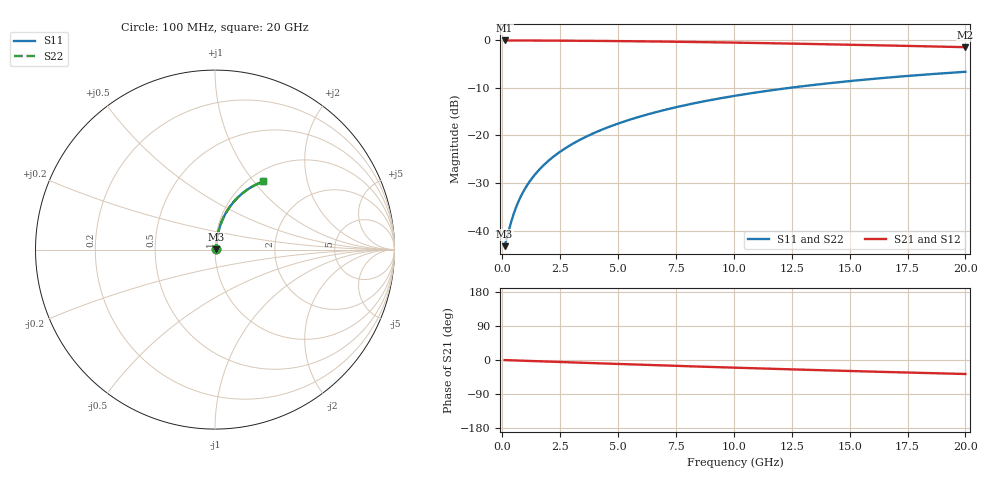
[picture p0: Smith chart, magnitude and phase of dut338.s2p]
! Touchstone file exported from HFSS 2024.1.0
!  File:  C:/UserFiles/LocalFiles/RDL_TSV_Batchsim/temp_RDL_top_338_1779607642.aedt
!  Generated:  03:29:50 PM May 24, 2026
!  Design:  RDL_top
!  Project:  temp_RDL_top_338_1779607642
!  Setup:  Setup1
!  Solution:  Sweep
! Variables:
!  dtsv = 10.80580581um
!  hbump = 3um
!  htsv = 72.22um
!  ldown = 100um
!  lrdl = 407.47um
!  p = 40
!  p1 = 53.81um
!  rhole = 1um
!  t = 450um
!  tdown = 3.915915916um
!  trdl = 2.27um
!  wdown = 15.38538539um
!  wrdl = 10.23um
# GHz S MA R 50.000000
! Terminal data exported
! Port[1] = Box2_T1
! Port[2] = Box2_T2
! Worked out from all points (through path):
!   200 points, 100 MHz to 20 GHz, reference 50 ohm
!   highest |S21| = -0.05 dB at 100 MHz (marker M1); lowest = -1.5 dB at 20 GHz (marker M2)
!   group delay of S21, straight-line fit = 5.14 ps
!   lowest |S11| = -43.2 dB at 100 MHz (marker M3), VSWR 1.01, Z = 50.6 + j0.279 ohm
!   |S11| at or under -10 dB: start of sweep to 12.42 GHz
!   |S22| runs from -43.2 to -6.6 dB; largest |S21 - S12| = 4.1e-15
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0.1  0.006888 23.6  0.9937 -0.2  0.9937 -0.2  0.006888 23.6
! Gamma 0 0 0 0
! Port Impedance 50 0 50 0
0.4  0.01278 59.1  0.9935 -0.9  0.9935 -0.9  0.01278 59.1
0.5  0.01524 64.0  0.9934 -1.1  0.9934 -1.1  0.01524 64.0
0.6  0.01777 67.3  0.9932 -1.3  0.9932 -1.3  0.01777 67.3
0.7  0.02033 69.8  0.9931 -1.5  0.9931 -1.5  0.02033 69.8
0.9  0.02553 73.1  0.9928 -1.9  0.9928 -1.9  0.02553 73.1
1.2  0.03338 75.9  0.9922 -2.6  0.9922 -2.6  0.03338 75.9
1.4  0.03862 77.1  0.9919 -3.0  0.9919 -3.0  0.03862 77.1
1.7  0.0465 78.2  0.9912 -3.6  0.9912 -3.6  0.0465 78.2
2.2  0.05965 79.2  0.99 -4.7  0.99 -4.7  0.05965 79.2
2.8  0.07546 79.5  0.9882 -5.9  0.9882 -5.9  0.07546 79.5
3.5  0.09391 79.3  0.9857 -7.4  0.9857 -7.4  0.09391 79.3
4.2  0.1123 78.8  0.9828 -8.8  0.9828 -8.8  0.1123 78.8
5  0.1333 77.9  0.9788 -10.4  0.9788 -10.4  0.1333 77.9
5.9  0.1568 76.8  0.9738 -12.3  0.9738 -12.3  0.1568 76.8
6.8  0.18 75.5  0.9681 -14.1  0.9681 -14.1  0.18 75.5
8.3  0.218 73.2  0.9573 -17.0  0.9573 -17.0  0.218 73.2
10.1  0.2622 70.3  0.9427 -20.4  0.9427 -20.4  0.2622 70.3
11.7  0.2999 67.6  0.9285 -23.3  0.9285 -23.3  0.2999 67.6
13.4  0.3381 64.8  0.9124 -26.3  0.9124 -26.3  0.3381 64.8
16.7  0.4061 59.5  0.8792 -31.8  0.8792 -31.8  0.4062 59.6
20  0.466 54.6  0.8449 -36.9  0.8449 -36.9  0.466 54.6
